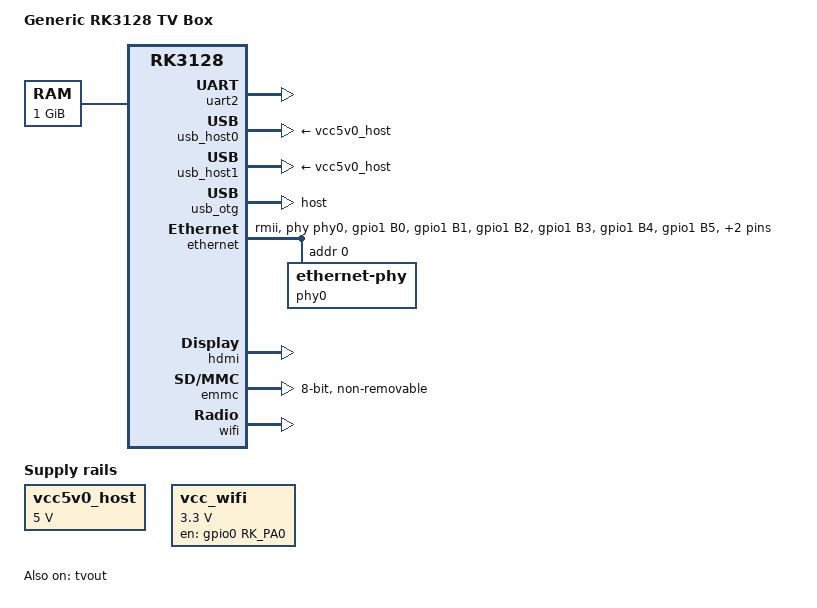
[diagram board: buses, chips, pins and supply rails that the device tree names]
/dts-v1/;
#include "rk3128.dtsi"

/ {
	model = "Generic RK3128 TV Box";
	compatible = "rockchip,rk3128-box", "rockchip,rk3128";

	memory@60000000 {
		reg = <0x60000000 0x40000000>;
	};

	chosen {
		bootargs = "console=ttyS2,115200n8 root=/dev/mmcblk0p2 rw rootwait earlyprintk";
		stdout-path = "serial2:115200n8";
	};

	vcc5v0_host: vcc5v0-host-regulator {
		compatible = "regulator-fixed";
		regulator-name = "vcc5v0_host";
		regulator-min-microvolt = <5000000>;
		regulator-max-microvolt = <5000000>;
		regulator-always-on;
		regulator-boot-on;
	};

	vcc_wifi: vcc-wifi-regulator {
		compatible = "regulator-fixed";
		regulator-name = "vcc_wifi";
		regulator-min-microvolt = <3300000>;
		regulator-max-microvolt = <3300000>;
		gpio = <&gpio0 RK_PA0 GPIO_ACTIVE_HIGH>;
		enable-active-high;
	};
};

&uart2 {
	status = "okay";
	pinctrl-names = "default";
	pinctrl-0 = <&uart2_xfer>;
};

&usb_host0 {
	status = "okay";
	phy-supply = <&vcc5v0_host>;
};

&usb_host1 {
	status = "okay";
	phy-supply = <&vcc5v0_host>;
};

&usb_otg {
	status = "okay";
	dr_mode = "host";
};

&ethernet {
	status = "okay";
	phy-mode = "rmii";
	pinctrl-names = "default";
	pinctrl-0 = <&rmii_pins>;
	phy-handle = <&phy0>;
	phy0: ethernet-phy@0 {
		reg = <0>;
	};
};

&pinctrl {
	rmii_pins: rmii-pins {
		rockchip,pins =
			<1 RK_PB0 RK_FUNC_1 &pcfg_pull_none>,
			<1 RK_PB1 RK_FUNC_1 &pcfg_pull_none>,
			<1 RK_PB2 RK_FUNC_1 &pcfg_pull_none>,
			<1 RK_PB3 RK_FUNC_1 &pcfg_pull_none>,
			<1 RK_PB4 RK_FUNC_1 &pcfg_pull_none>,
			<1 RK_PB5 RK_FUNC_1 &pcfg_pull_none>,
			<1 RK_PB6 RK_FUNC_1 &pcfg_pull_none>,
			<1 RK_PB7 RK_FUNC_1 &pcfg_pull_none>;
	};
};

&hdmi {
	status = "okay";
};

&tvout {
	status = "okay";
};

&emmc {
	status = "okay";
	bus-width = <8>;
	cap-mmc-highspeed;
	non-removable;
};

&wifi {
	compatible = "brcm,bcm43438";
	reg = <0>;
	interrupt-parent = <&gpio0>;
	interrupts = <RK_PA1 IRQ_TYPE_LEVEL_HIGH>;
	vddio-supply = <&vcc_wifi>;
	vddcore-supply = <&vcc_wifi>;
	status = "okay";
};
